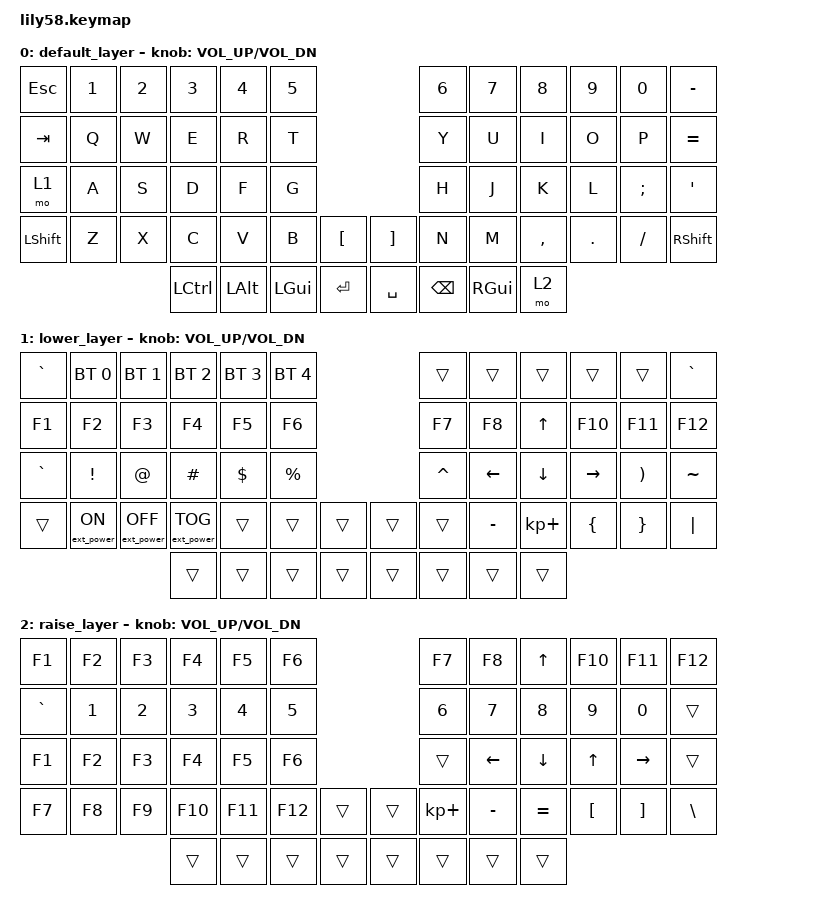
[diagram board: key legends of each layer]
/*
 * Copyright (c) 2020 The ZMK Contributors
 * &bt BTCLR 
 *
 * SPDX-License-Identifier: MIT
 */

#include <behaviors.dtsi>
#include <dt-bindings/zmk/keys.h>
#include <dt-bindings/zmk/bt.h>
#include <dt-bindings/zmk/ext_power.h>

/ {
	keymap {
		compatible = "zmk,keymap";

		default_layer {
// ------------------------------------------------------------------------------------------------------------
// |  ESC  |  1  |  2  |  3   |  4   |  5   |                   |  6   |  7    |  8    |  9   |   0   |   -   |
// |  TAB  |  Q  |  W  |  E   |  R   |  T   |                   |  Y   |  U    |  I    |  O   |   P   |   =   |
// |  LOWER|  A  |  S  |  D   |  F   |  G   |                   |  H   |  J    |  K    |  L   |   ;   |   '   |
// | SHIFT |  Z  |  X  |  C   |  V   |  B   |   "["  |  |  "]"  |  N   |  M    |  ,    |  .   |   /   | SHIFT |
//                     | LCTRL| ALT  | GUI  |  ENTER |  | SPACE |  BSPC  | GUI   |RAISE|
			bindings = <
&kp ESC   &kp N1 &kp N2 &kp N3   &kp N4   &kp N5                     &kp N6 &kp N7   &kp N8    &kp N9  &kp N0   &kp MINUS
&kp TAB   &kp Q  &kp W  &kp E    &kp R    &kp T                      &kp Y  &kp U    &kp I     &kp O   &kp P    &kp EQUAL
&mo 1 &kp A  &kp S  &kp D    &kp F    &kp G                      &kp H  &kp J    &kp K     &kp L   &kp SEMI &kp SQT
&kp LSHFT &kp Z  &kp X  &kp C    &kp V    &kp B  &kp LBKT   &kp RBKT &kp N  &kp M    &kp COMMA &kp DOT &kp FSLH &kp RSHFT
                       &kp LCTRL &kp LALT &kp LGUI &kp RET  &kp SPACE  &kp BSPC &kp RGUI &mo 2
			>;

			sensor-bindings = <&inc_dec_kp C_VOL_UP C_VOL_DN>;
		};

		lower_layer {
// ------------------------------------------------------------------------------------------------------------
// |`      | BT1 | BT2 |  BT3 |  BT4 |  BT5 |                   |      |       |       |      |       |   `   |
// |  F1   |  F2 |  F3 |  F4  |  F5  |  F6  |                   |  F7  |  F8   |  UP   |  F10 |  F11  |  F12  |
// |   `   |  !  |  @  |  #   |  $   |  %   |                   |  ^   |  LEFT | DOWN  | RIGHT|   )   |   ~   |
// |       |     |     |      |      |      |        |  |       |      |  _    |  +    |  {   |   }   |  "|"  |
//                     |      |      |      |        |  |       |      |       |       |
			bindings = <
&kp GRAVE &bt BT_SEL 0     &bt BT_SEL 1      &bt BT_SEL 2      &bt BT_SEL 3 &bt BT_SEL 4                 &trans    &trans    &trans          &trans    &trans    &kp GRAVE
&kp F1     &kp F2           &kp F3            &kp F4            &kp F5       &kp F6                       &kp F7    &kp F8    &kp UP          &kp F10   &kp F11   &kp F12
&kp GRAVE  &kp EXCL         &kp AT            &kp HASH          &kp DOLLAR   &kp PRCNT                    &kp CARET &kp LEFT  &kp DOWN &kp RIGHT  &kp RPAR  &kp TILDE
&trans     &ext_power EP_ON &ext_power EP_OFF &ext_power EP_TOG &trans       &trans    &trans   &trans    &trans    &kp MINUS &kp KP_PLUS     &kp LBRC  &kp RBRC  &kp PIPE
                                              &trans            &trans       &trans    &trans   &trans    &trans    &trans    &trans
			>;

			sensor-bindings = <&inc_dec_kp C_VOL_UP C_VOL_DN>;
		};

		raise_layer {
// ------------------------------------------------------------------------------------------------------------
// |  F1   |  F2 |  F3 |  F4  |  F5  |  F6  |                   |  F7  |  F8   |  UP   |  F10 |  F11  |  F12  |
// |   `   |  1  |  2  |  3   |  4   |  5   |                   |  6   |   7   |   8   |  9   |   0   |       |
// |   F1  |  F2 |  F3 |  F4  |  F5  |  F6  |                   |      |   <-  |   v   |  ^   |  ->   |       |
// |   F7  |  F8 |  F9 |  F10 |  F11 |  F12 |        |  |       |  +   |   -   |   =   |  [   |   ]   |   \   |
//                     |      |      |      |  BTCLR |  |       |      |       |       |
			bindings = <
&kp F1    &kp F2 &kp F3 &kp F4  &kp F5  &kp F6                       &kp F7      &kp F8    &kp UP    &kp F10  &kp F11   &kp F12
&kp GRAVE &kp N1 &kp N2 &kp N3  &kp N4  &kp N5                       &kp N6      &kp N7    &kp N8    &kp N9   &kp N0    &trans
&kp F1    &kp F2 &kp F3 &kp F4  &kp F5  &kp F6                       &trans      &kp LEFT  &kp DOWN  &kp UP   &kp RIGHT &trans
&kp F7    &kp F8 &kp F9 &kp F10 &kp F11 &kp F12   &trans   &trans    &kp KP_PLUS &kp MINUS &kp EQUAL &kp LBKT &kp RBKT  &kp BSLH
                        &trans  &trans  &trans    &trans   &trans    &trans      &trans    &trans
			>;

			sensor-bindings = <&inc_dec_kp C_VOL_UP C_VOL_DN>;
		};
	};
};
